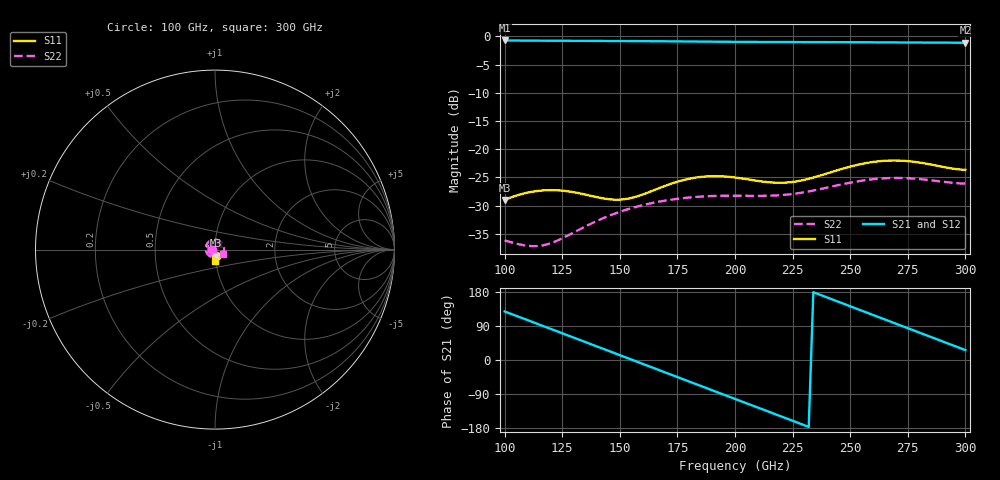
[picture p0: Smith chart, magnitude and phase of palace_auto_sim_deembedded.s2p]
! Created with skrf 1.11.0 (http://scikit-rf.org).
# GHz S DB R 50.0
!freq dBS11 angS11 dBS21 angS21 dBS12 angS12 dBS22 angS22
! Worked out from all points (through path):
!   101 points, 100 GHz to 300 GHz, reference 50 ohm
!   highest |S21| = -0.71 dB at 100 GHz (marker M1); lowest = -1.1 dB at 300 GHz (marker M2)
!   group delay of S21, straight-line fit = 6.42 ps
!   lowest |S11| = -29.0 dB at 100 GHz (marker M3), VSWR 1.07, Z = 50.6 - j3.5 ohm
!   |S11| at or under -10 dB: start of sweep to end of sweep
!   |S22| runs from -37.2 to -25.1 dB; largest |S21 - S12| = 1e-13
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100  -29.03 -77.7  -0.71 128.1  -0.71 128.1  -36.21 -170.4
108  -27.90 -83.8  -0.73 109.7  -0.73 109.7  -37.03 148.2
116  -27.34 -90.7  -0.75 91.3  -0.75 91.3  -37.11 100.6
124  -27.33 -96.8  -0.76 72.9  -0.76 72.9  -36.03 53.4
134  -27.96 -101.1  -0.78 49.8  -0.78 49.8  -33.94 1.6
144  -28.82 -98.1  -0.80 26.7  -0.80 26.7  -32.04 -44.3
152  -28.88 -90.9  -0.81 8.2  -0.81 8.2  -30.85 -78.9
160  -28.04 -84.3  -0.83 -10.3  -0.83 -10.3  -29.94 -112.8
168  -26.77 -82.2  -0.85 -28.8  -0.85 -28.8  -29.25 -146.6
184  -24.98 -88.9  -0.90 -65.8  -0.90 -65.8  -28.45 145.2
192  -24.79 -93.6  -0.93 -84.3  -0.93 -84.3  -28.30 110.2
200  -25.03 -97.0  -0.95 -102.7  -0.95 -102.7  -28.26 74.2
208  -25.52 -97.5  -0.97 -121.1  -0.97 -121.1  -28.29 36.6
218  -25.96 -93.2  -0.98 -144.2  -0.98 -144.2  -28.21 -12.6
226  -25.76 -87.6  -0.99 -162.6  -0.99 -162.6  -27.90 -52.8
234  -25.04 -83.1  -1.00 178.9  -1.00 178.9  -27.34 -92.6
250  -23.10 -82.7  -1.02 141.8  -1.02 141.8  -25.95 -166.8
260  -22.27 -87.3  -1.04 118.6  -1.04 118.6  -25.33 150.1
268  -22.02 -91.9  -1.06 100.1  -1.06 100.1  -25.12 116.4
276  -22.16 -96.0  -1.07 81.6  -1.07 81.6  -25.18 82.3
284  -22.64 -98.2  -1.09 63.1  -1.09 63.1  -25.48 47.0
300  -23.66 -92.4  -1.11 26.1  -1.11 26.1  -26.11 -30.3
